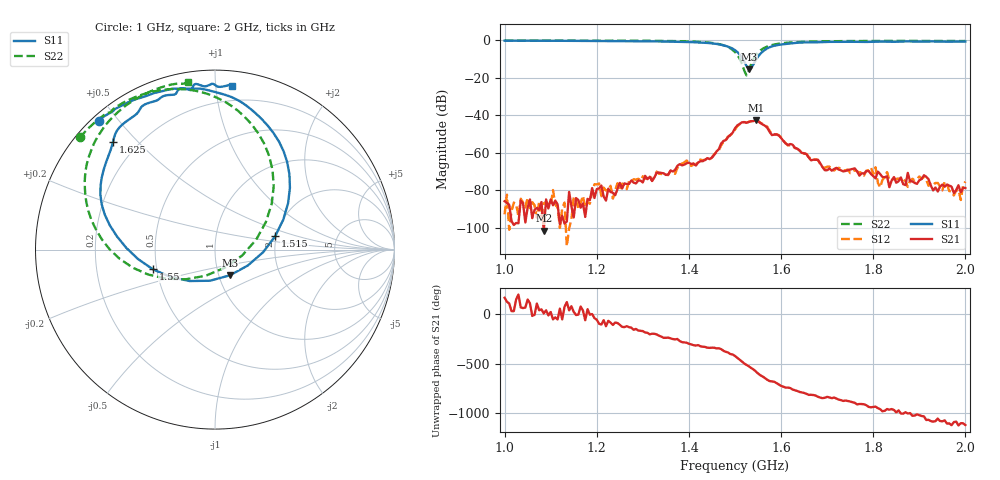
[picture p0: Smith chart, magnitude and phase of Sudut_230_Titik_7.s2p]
# Hz S RI R 50
! CMT, C1220, 16058040, 17.2.0/1
! Date: 14/08/2018 12:15:24
! Data: Format (Calibration Info)
! Freq  S11: Re/Im (F2)  S21: Re/Im (F2)  S12: Re/Im (F2)  S22: Re/Im (F2)
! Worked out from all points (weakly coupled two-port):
!   201 points, 1 GHz to 2 GHz, reference 50 ohm
!   highest |S21| = -42.49 dB at 1.545 GHz (marker M1); lowest = -101.5 dB at 1.085 GHz (marker M2)
!   lowest |S11| = -15.6 dB at 1.53 GHz (marker M3), VSWR 1.40, Z = 56.4 - j16.6 ohm
!   |S11| at or under -10 dB: 1.517 GHz to 1.547 GHz (30.17 MHz wide, 1.97 % of centre)
!   |S22| runs from -18.8 to -0.2 dB; largest |S21 - S12| = 0.00036
!   S11 on the Smith chart (normalised r, x): 1 GHz: 0.02, +0.44; 1.515 GHz: 1.97, +0.33; 1.55 GHz: 0.48, -0.12; 1.625 GHz: 0.11, +0.43; 2 GHz: 0.09, +1.11
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1e9  -0.6479 0.7142  -5e-05 1e-05  -2.28e-05 1.8e-06  -0.7536 0.625
1.085e9  -0.5634 0.7769  8.3e-06 1.32e-06  2.78e-05 3.48e-05  -0.6921 0.6882
1.17e9  -0.4791 0.8225  3.49e-05 2.79e-05  7.12e-05 -5.8e-06  -0.6168 0.7506
1.335e9  -0.2212 0.8963  -0.000238 0.000178  -0.000206 0.000181  -0.4006 0.8652
1.445e9  0.1514 0.8184  0.000638 0.000227  0.000598 0.00024  -0.00825 0.8547
1.5e9  0.4175 0.3438  0.00205 -0.00397  0.00192 -0.00369  0.327 0.3521
1.515e9  0.3346 0.0739  -0.00311 -0.00566  -0.00293 -0.00576  0.2295 0.0555
1.53e9  0.0828 -0.1434  -0.00645 -0.0015  -0.00649 -0.00152  -0.0517 -0.1456
1.545e9  -0.2492 -0.1522  -0.00585 0.00471  -0.00585 0.00454  -0.3724 -0.139
1.55e9  -0.3466 -0.1093  -0.00341 0.00612  -0.00369 0.00601  -0.4586 -0.1005
1.625e9  -0.5678 0.6014  0.00118 -0.00113  0.00111 -0.00104  -0.7018 0.5204
1.67e9  -0.4482 0.7465  -0.000106 -0.000643  -0.000102 -0.000668  -0.6255 0.6722
1.78e9  -0.227 0.8639  -0.000272 6.58e-05  -0.000241 5.09e-05  -0.4534 0.8324
1.805e9  -0.2031 0.8918  -0.000165 0.000127  -8.17e-05 0.000403  -0.4176 0.8533
1.81e9  -0.1961 0.8958  -0.000189 0.000251  -0.000109 0.000115  -0.4107 0.8572
1.835e9  -0.1446 0.8902  -4.44e-05 0.000112  -5.03e-05 0.00018  -0.3771 0.8737
1.845e9  -0.1314 0.8914  -7.2e-05 0.000213  -2.92e-06 0.000202  -0.3634 0.8801
1.87e9  -0.1124 0.9216  1.01e-05 0.000137  -3.19e-05 0.000174  -0.3282 0.8939
1.875e9  -0.1057 0.9229  8.9e-05 0.000276  1.87e-05 0.000121  -0.3209 0.8966
1.9e9  -0.0566 0.9096  0.000106 0.000152  0.000154 0.000177  -0.2854 0.9086
1.93e9  -0.0123 0.9237  9.76e-05 -1.77e-05  0.000138 3.13e-05  -0.2435 0.9194
2e9  0.0956 0.9138  8.2e-05 -8.06e-05  0.000143 -9.28e-05  -0.1527 0.9329
